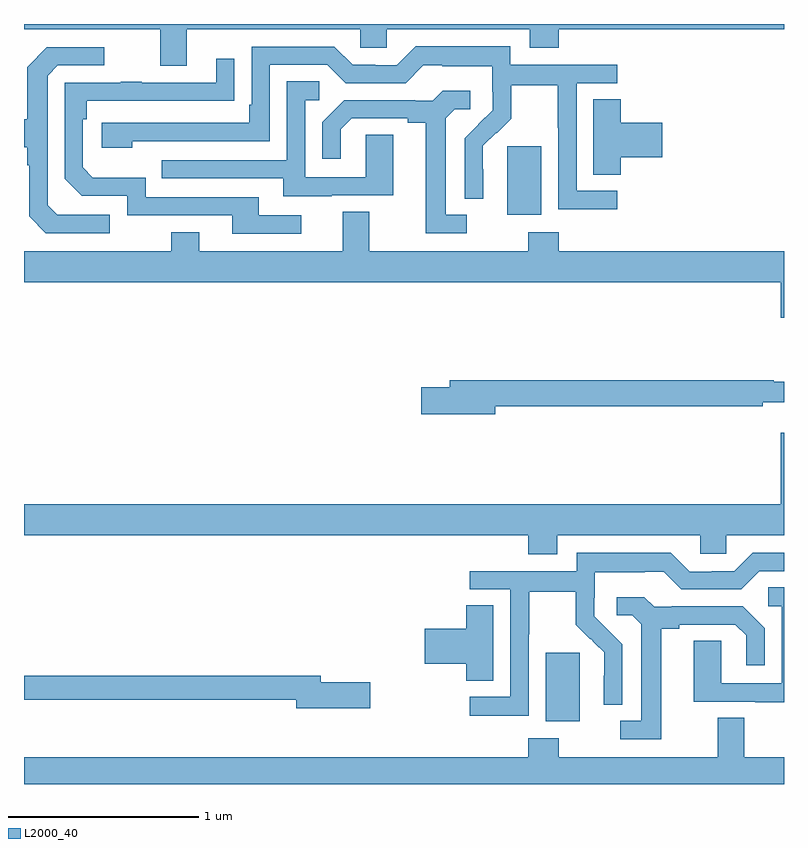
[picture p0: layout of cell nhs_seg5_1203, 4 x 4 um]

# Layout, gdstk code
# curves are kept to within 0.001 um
import gdstk
lib = gdstk.Library(unit=1e-6, precision=1e-09)
def R(c, l, rs):  # rectangles x0, y0, x1, y1
    for r in rs: c.add(gdstk.rectangle(r[:2], r[2:], *l))
def P(c, l, *ps):  # polygons
    for p in ps: c.add(gdstk.Polygon(p, *l))
L2000_40 = (2000, 40)

nhs_seg5_1203 = lib.new_cell('nhs_seg5_1203')
R(nhs_seg5_1203, L2000_40, [(187.745,841.13,187.924,841.491), (187.544,843.794,187.723,844.155)])
P(nhs_seg5_1203, L2000_40, [(185.857,844.772),(186.771,844.772),(186.771,844.674),(186.909,844.674),(186.909,844.772),(187.661,844.772),(187.661,844.673),(187.814,844.673),(187.814,844.772),(189,844.772),(189,844.799),(185,844.799),(185,844.772),(185.717,844.772),(185.717,844.578),(185.857,844.578)],
  [(188.122,843.921),(187.908,843.921),(187.908,844.488),(188.122,844.488),(188.122,844.584),(187.56,844.584),(187.56,844.681),(187.063,844.681),(186.963,844.581),(186.848,844.581),(186.848,844.584),(186.729,844.584),(186.633,844.68),(186.198,844.68),(186.198,844.375),(186.185,844.375),(186.185,844.278),(185.409,844.278),(185.409,844.148),(185.57,844.148),(185.57,844.182),(186.294,844.182),(186.294,844.584),(186.597,844.584),(186.693,844.488),(187.008,844.488),(187.101,844.581),(187.201,844.581),(187.201,844.577),(187.464,844.577),(187.464,844.443),(187.466,844.443),(187.466,844.346),(187.32,844.198),(187.32,843.88),(187.416,843.88),(187.415,844.157),(187.485,844.227),(187.488,844.224),(187.565,844.301),(187.565,844.476),(187.81,844.476),(187.81,844.252),(187.812,844.252),(187.812,843.823),(188.122,843.823)],
  [(185.452,843.795),(185.175,843.795),(185.124,843.846),(185.124,844.527),(185.178,844.581),(185.422,844.581),(185.422,844.677),(185.121,844.677),(185.016,844.571),(185.016,844.299),(185,844.299),(185,844.151),(185.016,844.151),(185.016,844.055),(185.028,844.055),(185.028,843.786),(185.115,843.699),(185.452,843.699)],
  [(186.46,843.792),(186.235,843.792),(186.235,843.888),(185.64,843.888),(185.64,843.991),(185.363,843.991),(185.31,844.044),(185.31,844.298),(185.33,844.298),(185.33,844.395),(186.107,844.396),(186.107,844.615),(186.011,844.615),(186.011,844.491),(185.621,844.491),(185.621,844.496),(185.509,844.496),(185.509,844.491),(185.214,844.491),(185.214,843.984),(185.304,843.894),(185.544,843.894),(185.544,843.792),(186.095,843.792),(186.095,843.696),(186.46,843.696)],
  [(186.619,843.897),(186.943,843.897),(186.943,844.217),(186.798,844.217),(186.798,843.993),(186.48,843.993),(186.48,844.398),(186.553,844.398),(186.553,844.499),(186.384,844.499),(186.384,844.083),(185.725,844.083),(185.725,843.987),(186.365,843.987),(186.365,843.893),(186.619,843.893)],
  [(187.33,843.795),(187.219,843.795),(187.219,844.303),(187.266,844.35),(187.348,844.35),(187.348,844.447),(187.204,844.447),(187.152,844.395),(187.058,844.395),(187.058,844.398),(186.686,844.398),(186.57,844.282),(186.57,844.089),(186.667,844.089),(186.667,844.245),(186.724,844.302),(187.019,844.302),(187.019,844.28),(187.115,844.28),(187.115,843.699),(187.33,843.699)],
  [(188.141,844.097),(188.359,844.097),(188.359,844.28),(188.141,844.28),(188.141,844.403),(187.997,844.403),(187.997,844.006),(188.141,844.006)],
  [(189,843.604),(187.814,843.604),(187.814,843.703),(187.654,843.703),(187.654,843.604),(186.817,843.604),(186.817,843.812),(186.677,843.812),(186.677,843.604),(185.923,843.604),(185.923,843.703),(185.776,843.703),(185.776,843.604),(185,843.604),(185,843.44),(188.984,843.44),(188.984,843.252),(189,843.252)],
  [(187.48,842.788),(188.888,842.788),(188.888,842.807),(189,842.807),(189,842.917),(188.945,842.917),(188.945,842.924),(187.241,842.924),(187.241,842.888),(187.092,842.888),(187.092,842.746),(187.48,842.746)],
  [(187.807,842.108),(188.559,842.108),(188.559,842.01),(188.697,842.01),(188.697,842.108),(189,842.108),(189,842.647),(188.984,842.647),(188.984,842.272),(185,842.272),(185,842.108),(187.655,842.108),(187.655,842.009),(187.807,842.009)],
  [(187.656,841.588),(187.659,841.588),(187.659,841.812),(187.903,841.812),(187.903,841.637),(187.98,841.56),(187.983,841.563),(188.054,841.493),(188.054,841.37),(188.052,841.37),(188.052,841.216),(188.148,841.216),(188.148,841.534),(188.002,841.682),(188.002,841.779),(188.004,841.779),(188.004,841.913),(188.267,841.913),(188.267,841.917),(188.367,841.917),(188.46,841.824),(188.775,841.824),(188.871,841.92),(189,841.92),(189,842.016),(188.835,842.016),(188.739,841.92),(188.621,841.92),(188.621,841.917),(188.505,841.917),(188.405,842.017),(187.908,842.017),(187.908,841.92),(187.347,841.92),(187.347,841.824),(187.56,841.824),(187.56,841.257),(187.347,841.257),(187.347,841.159),(187.656,841.159)],
  [(189,841.835),(188.916,841.835),(188.916,841.734),(188.988,841.734),(188.988,841.329),(188.67,841.329),(188.67,841.553),(188.525,841.553),(188.525,841.233),(188.849,841.233),(188.849,841.229),(189,841.229)],
  [(188.353,841.616),(188.449,841.616),(188.449,841.638),(188.744,841.638),(188.801,841.581),(188.801,841.425),(188.898,841.425),(188.898,841.618),(188.782,841.734),(188.41,841.734),(188.41,841.731),(188.316,841.731),(188.264,841.783),(188.121,841.783),(188.121,841.686),(188.202,841.686),(188.249,841.639),(188.249,841.131),(188.139,841.131),(188.139,841.035),(188.353,841.035)],
  [(187.471,841.739),(187.328,841.739),(187.328,841.616),(187.11,841.616),(187.11,841.433),(187.328,841.433),(187.328,841.342),(187.471,841.342)],
  [(186.823,841.334),(186.562,841.334),(186.562,841.37),(185,841.37),(185,841.242),(186.434,841.242),(186.434,841.199),(186.823,841.199)],
  [(189,840.94),(188.791,840.94),(188.791,841.148),(188.651,841.148),(188.651,840.94),(187.815,840.94),(187.815,841.039),(187.655,841.039),(187.655,840.94),(185,840.94),(185,840.799),(189,840.799)])

lib.write_gds('nhs_seg5_1203.gds')
